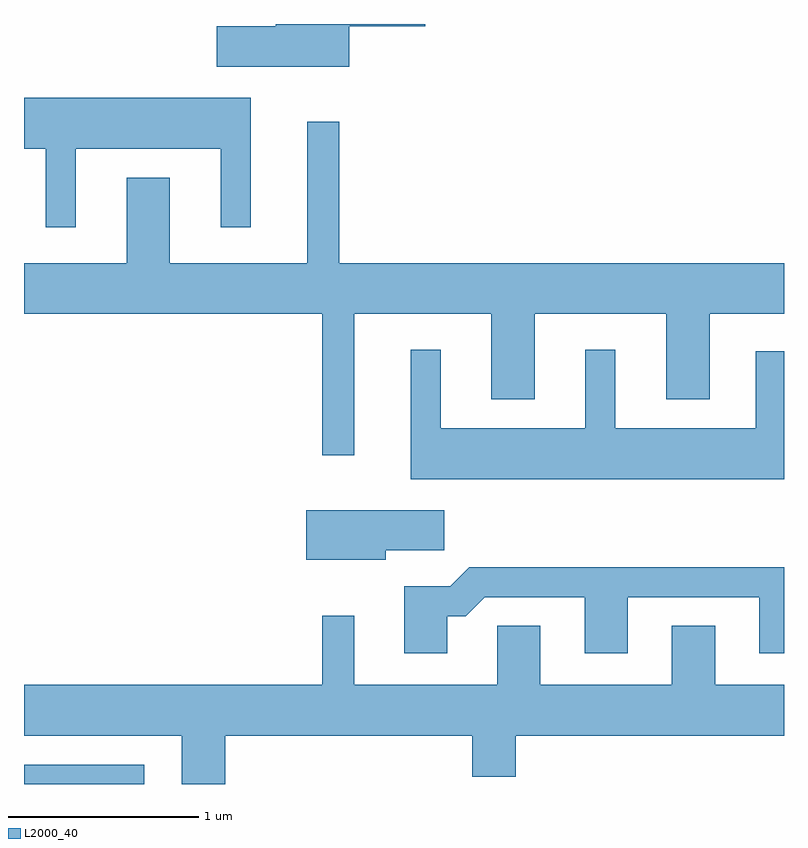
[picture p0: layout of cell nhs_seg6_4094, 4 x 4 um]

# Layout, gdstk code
import gdstk
lib = gdstk.Library(unit=1e-6, precision=1e-09)
def R(c, l, rs):  # rectangles x0, y0, x1, y1
    for r in rs: c.add(gdstk.rectangle(r[:2], r[2:], *l))
def P(c, l, *ps):  # polygons
    for p in ps: c.add(gdstk.Polygon(p, *l))
L2000_40 = (2000, 40)

nhs_seg6_4094 = lib.new_cell('nhs_seg6_4094')
R(nhs_seg6_4094, L2000_40, [(309.611,1614.162,310.244,1614.264)])
P(nhs_seg6_4094, L2000_40, [(311.324,1618.151),(311.724,1618.151),(311.724,1618.162),(310.936,1618.162),(310.936,1618.149),(310.626,1618.149),(310.626,1617.936),(311.324,1617.936)],
  [(309.884,1617.506),(310.646,1617.506),(310.646,1617.093),(310.804,1617.093),(310.804,1617.774),(309.611,1617.774),(309.611,1617.506),(309.726,1617.506),(309.726,1617.093),(309.884,1617.093)],
  [(311.349,1616.636),(312.071,1616.636),(312.071,1616.186),(312.299,1616.186),(312.299,1616.636),(312.991,1616.636),(312.991,1616.186),(313.219,1616.186),(313.219,1616.636),(313.611,1616.636),(313.611,1616.904),(311.269,1616.904),(311.269,1617.648),(311.101,1617.648),(311.101,1616.904),(310.379,1616.904),(310.379,1617.354),(310.151,1617.354),(310.151,1616.904),(309.611,1616.904),(309.611,1616.636),(311.181,1616.636),(311.181,1615.893),(311.349,1615.893)],
  [(313.611,1616.439),(313.461,1616.439),(313.461,1616.034),(312.724,1616.034),(312.724,1616.448),(312.566,1616.448),(312.566,1616.034),(311.804,1616.034),(311.804,1616.448),(311.646,1616.448),(311.646,1615.766),(313.611,1615.766)],
  [(311.514,1615.391),(311.824,1615.391),(311.824,1615.604),(311.096,1615.604),(311.096,1615.341),(311.514,1615.341)],
  [(311.839,1615.046),(311.937,1615.046),(312.037,1615.146),(312.561,1615.146),(312.561,1614.851),(312.789,1614.851),(312.789,1615.146),(313.481,1615.146),(313.481,1614.851),(313.611,1614.851),(313.611,1615.304),(311.954,1615.304),(311.854,1615.204),(311.611,1615.204),(311.611,1614.851),(311.839,1614.851)],
  [(310.669,1614.416),(311.971,1614.416),(311.971,1614.201),(312.199,1614.201),(312.199,1614.416),(313.611,1614.416),(313.611,1614.684),(313.249,1614.684),(313.249,1614.994),(313.021,1614.994),(313.021,1614.684),(312.329,1614.684),(312.329,1614.994),(312.101,1614.994),(312.101,1614.684),(311.349,1614.684),(311.349,1615.048),(311.181,1615.048),(311.181,1614.684),(309.611,1614.684),(309.611,1614.416),(310.441,1614.416),(310.441,1614.162),(310.669,1614.162)])

lib.write_gds('nhs_seg6_4094.gds')
